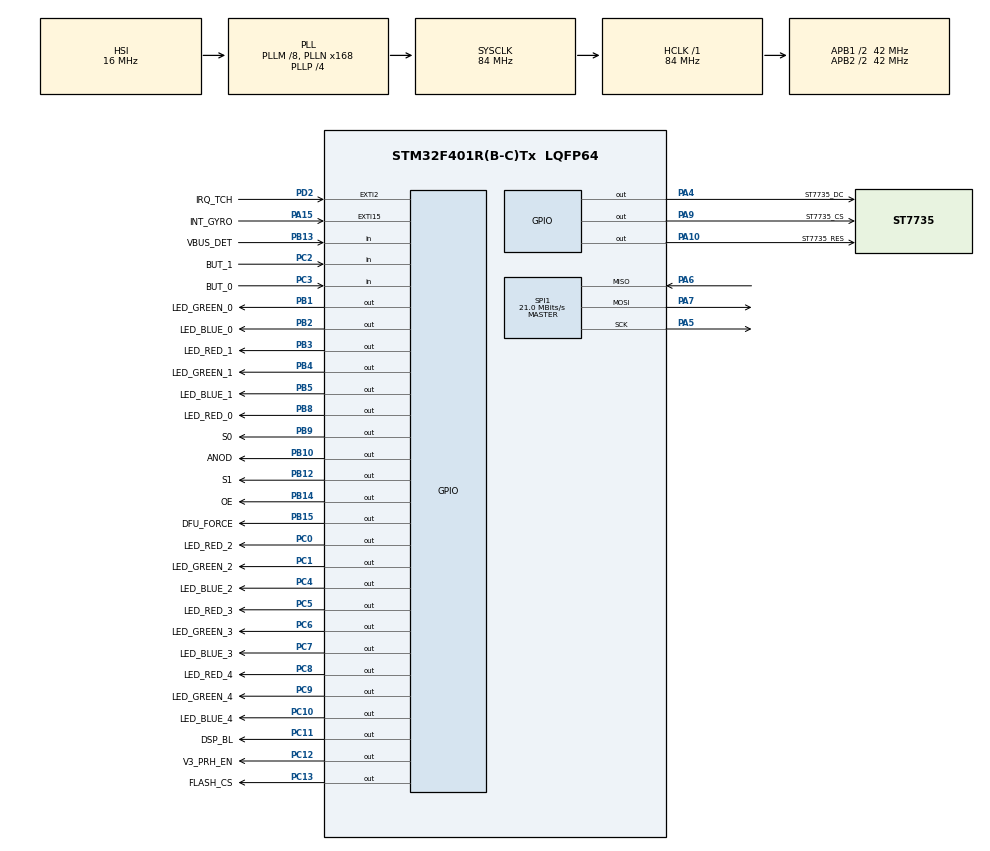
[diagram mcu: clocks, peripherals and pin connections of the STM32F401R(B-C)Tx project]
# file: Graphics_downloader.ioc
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Mcu.Family=STM32F4
Mcu.Name=STM32F401R(B-C)Tx
Mcu.Package=LQFP64
NVIC.EXTI15_10_IRQn=true\:0\:0\:false\:false\:true\:true\:true\:true
NVIC.EXTI2_IRQn=true\:0\:0\:false\:false\:true\:true\:true\:true
NVIC.PriorityGroup=NVIC_PRIORITYGROUP_4
PA10.GPIO_Label=ST7735_RES
PA10.Signal=GPIO_Output
PA13.Mode=Serial_Wire
PA13.Signal=SYS_JTMS-SWDIO
PA14.Mode=Serial_Wire
PA14.Signal=SYS_JTCK-SWCLK
PA15.GPIO_Label=INT_GYRO
PA15.Signal=GPXTI15
PA4.GPIO_Label=ST7735_DC
PA4.Signal=GPIO_Output
PA5.Mode=Full_Duplex_Master
PA5.Signal=SPI1_SCK
PA6.Mode=Full_Duplex_Master
PA6.Signal=SPI1_MISO
PA7.Mode=Full_Duplex_Master
PA7.Signal=SPI1_MOSI
PA9.GPIO_Label=ST7735_CS
PA9.Signal=GPIO_Output
PB1.GPIO_Label=LED_GREEN_0
PB1.PinState=GPIO_PIN_SET
PB1.Signal=GPIO_Output
PB10.GPIO_Label=ANOD
PB10.Signal=GPIO_Output
PB12.GPIO_Label=S1
PB12.Signal=GPIO_Output
PB13.GPIO_Label=VBUS_DET
PB13.Signal=GPIO_Input
PB14.GPIO_Label=OE
PB14.Signal=GPIO_Output
PB15.GPIO_Label=DFU_FORCE
PB15.Signal=GPIO_Output
PB2.GPIO_Label=LED_BLUE_0
PB2.PinState=GPIO_PIN_SET
PB2.Signal=GPIO_Output
PB3.GPIO_Label=LED_RED_1
PB3.PinState=GPIO_PIN_SET
PB3.Signal=GPIO_Output
PB4.GPIO_Label=LED_GREEN_1
PB4.PinState=GPIO_PIN_SET
PB4.Signal=GPIO_Output
PB5.GPIO_Label=LED_BLUE_1
PB5.PinState=GPIO_PIN_SET
PB5.Signal=GPIO_Output
PB8.GPIO_Label=LED_RED_0
PB8.PinState=GPIO_PIN_SET
PB8.Signal=GPIO_Output
PB9.GPIO_Label=S0
PB9.Signal=GPIO_Output
PC0.GPIO_Label=LED_RED_2
PC0.PinState=GPIO_PIN_SET
PC0.Signal=GPIO_Output
PC1.GPIO_Label=LED_GREEN_2
PC1.PinState=GPIO_PIN_SET
PC1.Signal=GPIO_Output
PC10.GPIO_Label=LED_BLUE_4
PC10.PinState=GPIO_PIN_SET
PC10.Signal=GPIO_Output
PC11.GPIO_Label=DSP_BL
PC11.Signal=GPIO_Output
PC12.GPIO_Label=V3_PRH_EN
PC12.Signal=GPIO_Output
PC13-ANTI_TAMP.GPIO_Label=FLASH_CS
PC13-ANTI_TAMP.Signal=GPIO_Output
PC14-OSC32_IN.Mode=LSE-External-Oscillator
PC14-OSC32_IN.Signal=RCC_OSC32_IN
PC15-OSC32_OUT.Mode=LSE-External-Oscillator
PC15-OSC32_OUT.Signal=RCC_OSC32_OUT
PC2.GPIO_Label=BUT_1
PC2.Signal=GPIO_Input
PC3.GPIO_Label=BUT_0
PC3.Signal=GPIO_Input
PC4.GPIO_Label=LED_BLUE_2
PC4.PinState=GPIO_PIN_SET
PC4.Signal=GPIO_Output
PC5.GPIO_Label=LED_RED_3
PC5.PinState=GPIO_PIN_SET
PC5.Signal=GPIO_Output
PC6.GPIO_Label=LED_GREEN_3
PC6.PinState=GPIO_PIN_SET
PC6.Signal=GPIO_Output
PC7.GPIO_Label=LED_BLUE_3
PC7.PinState=GPIO_PIN_SET
PC7.Signal=GPIO_Output
PC8.GPIO_Label=LED_RED_4
PC8.PinState=GPIO_PIN_SET
PC8.Signal=GPIO_Output
PC9.GPIO_Label=LED_GREEN_4
PC9.PinState=GPIO_PIN_SET
PC9.Signal=GPIO_Output
PD2.GPIO_Label=IRQ_TCH
PD2.GPIO_ModeDefaultEXTI=GPIO_MODE_IT_FALLING
PD2.Signal=GPXTI2
PH0\ -\ OSC_IN.Mode=HSE-External-Oscillator
PH0\ -\ OSC_IN.Signal=RCC_OSC_IN
PH1\ -\ OSC_OUT.Mode=HSE-External-Oscillator
PH1\ -\ OSC_OUT.Signal=RCC_OSC_OUT
ProjectManager.HeapSize=0x200
ProjectManager.StackSize=0x400
ProjectManager.TargetToolchain=STM32CubeIDE
RCC.48MHZClocksFreq_Value=48000000
RCC.AHBFreq_Value=84000000
RCC.APB1CLKDivider=RCC_HCLK_DIV2
RCC.APB1Freq_Value=42000000
RCC.APB1TimFreq_Value=84000000
RCC.APB2CLKDivider=RCC_HCLK_DIV2
RCC.APB2Freq_Value=42000000
RCC.APB2TimFreq_Value=84000000
RCC.CortexFreq_Value=84000000
RCC.HCLKFreq_Value=84000000
RCC.HSE_VALUE=8000000
RCC.HSI_VALUE=16000000
RCC.PLLM=8
RCC.PLLN=168
RCC.PLLP=RCC_PLLP_DIV4
RCC.PLLQ=7
RCC.RCC_RTC_Clock_Source=RCC_RTCCLKSOURCE_LSE
RCC.RCC_RTC_Clock_SourceVirtual=RCC_RTCCLKSOURCE_LSE
RCC.SYSCLKFreq_VALUE=84000000
RCC.SYSCLKSource=RCC_SYSCLKSOURCE_PLLCLK
RCC.VCOOutputFreq_Value=336000000
SPI1.BaudRatePrescaler=SPI_BAUDRATEPRESCALER_2
SPI1.CalculateBaudRate=21.0 MBits/s
SPI1.Direction=SPI_DIRECTION_2LINES
SPI1.Mode=SPI_MODE_MASTER
SPI1.VirtualType=VM_MASTER
board=custom

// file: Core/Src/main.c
/* USER CODE BEGIN Header */
/**
  ******************************************************************************
  * @file           : main.c
  * @brief          : Main program body
  ******************************************************************************
  * @attention
  *
  * Copyright (c) 2024 STMicroelectronics.
  * All rights reserved.
  *
  * This software is licensed under terms that can be found in the LICENSE file
  * in the root directory of this software component.
  * If no LICENSE file comes with this software, it is provided AS-IS.
  *
  ******************************************************************************
  */
/* USER CODE END Header */
#include "main.h"

/* USER CODE BEGIN Includes */
#include "allmyheaders.h"
/* USER CODE END Includes */

SPI_HandleTypeDef hspi1;

void SystemClock_Config(void);
static void MX_GPIO_Init(void);
static void MX_SPI1_Init(void);

int main(void)
{

  /* MCU Configuration--------------------------------------------------------*/

  /* Reset of all peripherals, Initializes the Flash interface and the Systick. */
  HAL_Init();

  /* Configure the system clock */
  SystemClock_Config();

  /* Initialize all configured peripherals */
  MX_GPIO_Init();
  MX_SPI1_Init();
  /* USER CODE BEGIN 2 */

  HAL_GPIO_WritePin(DSP_BL_GPIO_Port, DSP_BL_Pin, GPIO_PIN_SET);
  HAL_GPIO_WritePin(V3_PRH_EN_GPIO_Port, V3_PRH_EN_Pin, GPIO_PIN_SET);

  ST7735_Init();
  ST7735_InvertColors(0);
  W25qxx_Init();

  ST7735_FillScreen(ST7735_RED);

//	  FIRMWARE 0
//    W25qxx_EraseBlock(1);
//    W25qxx_WriteBlock(M1_data, 1, 0, 2592);
//    W25qxx_WriteBlock(M2_data, 1, 2592, 2592);
//    W25qxx_WriteBlock(M3_data, 1, 2592*2, 2592);
//    W25qxx_WriteBlock(M4_data, 1, 2592*3, 2592);
//    W25qxx_WriteBlock(M5_data, 1, 2592*4, 2592);
//    W25qxx_WriteBlock(M6_data, 1, 2592*5, 2592);
//    W25qxx_WriteBlock(M7_data, 1, 2592*6, 2592);
//    W25qxx_WriteBlock(M8_data, 1, 2592*7, 2592);
//    W25qxx_WriteBlock(M9_data, 1, 2592*8, 2592);
//    W25qxx_WriteBlock(M10_data, 1, 2592*9, 2592);
//    W25qxx_WriteBlock(M11_data, 1, 2592*10, 2592);
//    W25qxx_WriteBlock(M12_data, 1, 2592*11, 2592);
//    W25qxx_WriteBlock(M13_data, 1, 2592*12, 2592);
//    W25qxx_WriteBlock(M14_data, 1, 2592*13, 2592);
//    W25qxx_WriteBlock(M15_data, 1, 2592*14, 2592);
//    W25qxx_WriteBlock(M16_data, 1, 2592*15, 2592);
//    W25qxx_WriteBlock(M17_data, 1, 2592*16, 2592);
//    W25qxx_WriteBlock(M18_data, 1, 2592*17, 2592);
//    W25qxx_WriteBlock(M19_data, 1, 2592*18, 2592);
//    W25qxx_WriteBlock(M20_data, 1, 2592*19, 2592);
//    W25qxx_WriteBlock(M21_data, 1, 2592*20, 2592);
//    W25qxx_WriteBlock(M22_data, 1, 2592*21, 2592);
//    W25qxx_WriteBlock(M23_data, 1, 2592*22, 2592);
//    W25qxx_WriteBlock(M24_data, 1, 2592*23, 2592);
//
//
//    W25qxx_EraseBlock(2);
//    W25qxx_WriteBlock(M25_data, 2, 0, 2592);
//    W25qxx_WriteBlock(M26_data, 2, 2592, 2592);
//    W25qxx_WriteBlock(M27_data, 2, 2592*2, 2592);
//    W25qxx_WriteBlock(M28_data, 2, 2592*3, 2592);
//    W25qxx_WriteBlock(M29_data, 2, 2592*4, 2592);
//    W25qxx_WriteBlock(M30_data, 2, 2592*5, 2592);
//    W25qxx_WriteBlock(M31_data, 2, 2592*6, 2592);
//    W25qxx_WriteBlock(M32_data, 2, 2592*7, 2592);
//    W25qxx_WriteBlock(M33_data, 2, 2592*8, 2592);
//    W25qxx_WriteBlock(M34_data, 2, 2592*9, 2592);
//    W25qxx_WriteBlock(M35_data, 2, 2592*10, 2592);
//    W25qxx_WriteBlock(M36_data, 2, 2592*11, 2592);
//    W25qxx_WriteBlock(M37_data, 2, 2592*12, 2592);
//    W25qxx_WriteBlock(M38_data, 2, 2592*13, 2592);
//    W25qxx_WriteBlock(M39_data, 2, 2592*14, 2592);
//    W25qxx_WriteBlock(M40_data, 2, 2592*15, 2592);
//    W25qxx_WriteBlock(M41_data, 2, 2592*16, 2592);
//    W25qxx_WriteBlock(M42_data, 2, 2592*17, 2592);
//    W25qxx_WriteBlock(M43_data, 2, 2592*18, 2592);
//    W25qxx_WriteBlock(M44_data, 2, 2592*19, 2592);
//    W25qxx_WriteBlock(M45_data, 2, 2592*20, 2592);
//    W25qxx_WriteBlock(M46_data, 2, 2592*21, 2592);
//    W25qxx_WriteBlock(M47_data, 2, 2592*22, 2592);
//    W25qxx_WriteBlock(M48_data, 2, 2592*23, 2592);
//    HAL_Delay(10);
//
//    W25qxx_EraseBlock(3);
//    W25qxx_WriteBlock(M49_data, 3, 0, 2592);
//    W25qxx_WriteBlock(M50_data, 3, 2592, 2592);
//    W25qxx_WriteBlock(M51_data, 3, 2592*2, 2592);
//    W25qxx_WriteBlock(M52_data, 3, 2592*3, 2592);
//    W25qxx_WriteBlock(M53_data, 3, 2592*4, 2592);
//    W25qxx_WriteBlock(M54_data, 3, 2592*5, 2592);
//    W25qxx_WriteBlock(M55_data, 3, 2592*6, 2592);
//    W25qxx_WriteBlock(M56_data, 3, 2592*7, 2592);
//    W25qxx_WriteBlock(M57_data, 3, 2592*8, 2592);
//    W25qxx_WriteBlock(M58_data, 3, 2592*9, 2592);
//    W25qxx_WriteBlock(M59_data, 3, 2592*10, 2592);
//    W25qxx_WriteBlock(M60_data, 3, 2592*11, 2592);
//    W25qxx_WriteBlock(M61_data, 3, 2592*12, 2592);
//    W25qxx_WriteBlock(L1_data, 3, 2592*13, 4232);
//
//    W25qxx_EraseBlock(4);
//    W25qxx_WriteBlock(L2_data, 4, 0, 4232);
//    W25qxx_WriteBlock(L3_data, 4, 4232, 4232);
//    W25qxx_WriteBlock(L4_data, 4, 4232*2, 4232);
//    W25qxx_WriteBlock(L5_data, 4, 4232*3, 4232);
//    W25qxx_WriteBlock(L6_data, 4, 4232*4, 4232);
//    W25qxx_WriteBlock(L7_data, 4, 4232*5, 4232);
//    W25qxx_WriteBlock(L8_data, 4, 4232*6, 4232);
//    W25qxx_WriteBlock(L9_data, 4, 4232*7, 4232);
//    W25qxx_WriteBlock(L10_data, 4, 4232*8, 4232);
//    W25qxx_WriteBlock(L11_data, 4, 4232*9, 4232);
//    W25qxx_WriteBlock(L12_data, 4, 4232*10, 4232);
//    W25qxx_WriteBlock(L13_data, 4, 4232*11, 4232);
//    W25qxx_WriteBlock(L14_data, 4, 4232*12, 4232);
//    W25qxx_WriteBlock(L15_data, 4, 4232*13, 4232);
//    W25qxx_WriteBlock(L16_data, 4, 4232*14, 4232);

/////// FIRMWARE 1

  W25qxx_EraseBlock(5);
  W25qxx_WriteBlock(L17_data, 5, 0, 4232);
  W25qxx_WriteBlock(L18_data, 5, 4232, 4232);
  W25qxx_WriteBlock(L19_data, 5, 4232*2, 4232);
  W25qxx_WriteBlock(L20_data, 5, 4232*3, 4232);
  W25qxx_WriteBlock(L21_data, 5, 4232*4, 4232);
  W25qxx_WriteBlock(L22_data, 5, 4232*5, 4232);
  W25qxx_WriteBlock(L23_data, 5, 4232*6, 4232);
  W25qxx_WriteBlock(L24_data, 5, 4232*7, 4232);
  W25qxx_WriteBlock(L25_data, 5, 4232*8, 4232);
  W25qxx_WriteBlock(L26_data, 5, 4232*9, 4232);
  W25qxx_WriteBlock(L27_data, 5, 4232*10, 4232);
  W25qxx_WriteBlock(L28_data, 5, 4232*11, 4232);
  W25qxx_WriteBlock(L29_data, 5, 4232*12, 4232);
  W25qxx_WriteBlock(L30_data, 5, 4232*13, 4232);
  W25qxx_WriteBlock(L31_data, 5, 4232*14, 4232);

  W25qxx_EraseBlock(6);
  W25qxx_WriteBlock(L32_data, 6, 0, 4232);
  W25qxx_WriteBlock(L33_data, 6, 4232, 4232);
  W25qxx_WriteBlock(L34_data, 6, 4232*2, 4232);
  W25qxx_WriteBlock(L35_data, 6, 4232*3, 4232);
  W25qxx_WriteBlock(L36_data, 6, 4232*4, 4232);
  W25qxx_WriteBlock(L37_data, 6, 4232*5, 4232);
  W25qxx_WriteBlock(L38_data, 6, 4232*6, 4232);
  W25qxx_WriteBlock(L39_data, 6, 4232*7, 4232);
  W25qxx_WriteBlock(L40_data, 6, 4232*8, 4232);
  W25qxx_WriteBlock(L41_data, 6, 4232*9, 4232);
  W25qxx_WriteBlock(L42_data, 6, 4232*10, 4232);
  W25qxx_WriteBlock(L43_data, 6, 4232*11, 4232);
  W25qxx_WriteBlock(L44_data, 6, 4232*12, 4232);
  W25qxx_WriteBlock(L45_data, 6, 4232*13, 4232);
  W25qxx_WriteBlock(L46_data, 6, 4232*14, 4232);

  W25qxx_EraseBlock(7);
  W25qxx_WriteBlock(L47_data, 7, 0, 4232);
  W25qxx_WriteBlock(L48_data, 7, 4232, 4232);
  W25qxx_WriteBlock(L49_data, 7, 4232*2, 4232);
  W25qxx_WriteBlock(L50_data, 7, 4232*3, 4232);
  W25qxx_WriteBlock(L51_data, 7, 4232*4, 4232);
  W25qxx_WriteBlock(L52_data, 7, 4232*5, 4232);
  W25qxx_WriteBlock(L53_data, 7, 4232*6, 4232);
  W25qxx_WriteBlock(L54_data, 7, 4232*7, 4232);
  W25qxx_WriteBlock(L55_data, 7, 4232*8, 4232);
  W25qxx_WriteBlock(L56_data, 7, 4232*9, 4232);
  W25qxx_WriteBlock(L57_data, 7, 4232*10, 4232);
  W25qxx_WriteBlock(L58_data, 7, 4232*11, 4232);
  W25qxx_WriteBlock(L59_data, 7, 4232*12, 4232);
  W25qxx_WriteBlock(L60_data, 7, 4232*13, 4232);
  W25qxx_WriteBlock(L61_data, 7, 4232*14, 4232);

  W25qxx_EraseBlock(8);
  W25qxx_WriteBlock(LOADING_1_data, 8, 0, 5408 );
  W25qxx_WriteBlock(LOADING_2_data, 8, 5408, 5408 );
  W25qxx_WriteBlock(LOADING_3_data, 8, 10816, 5408 );
  W25qxx_WriteBlock(LOAD_0_data, 8, 16224, 1800 );
  W25qxx_WriteBlock(LOAD_10_data, 8, 16224 + 1800*1, 1800 );
  W25qxx_WriteBlock(LOAD_20_data, 8, 16224 + 1800*2, 1800 );
  W25qxx_WriteBlock(LOAD_30_data, 8, 16224 + 1800*3, 1800 );
  W25qxx_WriteBlock(LOAD_40_data, 8, 16224 + 1800*4, 1800 );
  W25qxx_WriteBlock(LOAD_50_data, 8, 16224 + 1800*5, 1800 );
  W25qxx_WriteBlock(LOAD_60_data, 8, 16224 + 1800*6, 1800 );
  W25qxx_WriteBlock(LOAD_70_data, 8, 16224 + 1800*7, 1800 );
  W25qxx_WriteBlock(LOAD_80_data, 8, 16224 + 1800*8, 1800 );
  W25qxx_WriteBlock(LOAD_90_data, 8, 16224 + 1800*9, 1800 );
  W25qxx_WriteBlock(LOAD_100_data, 8, 16224 + 1800*10, 1800 );
  W25qxx_WriteBlock(LOAD_150_data, 8, 16224 + 1800*11, 1800 );
  W25qxx_WriteBlock(LOAD_200_data, 8, 16224 + 1800*12, 1800 );

  W25qxx_WriteBlock(CHECK_MARK_M_data, 8,39774 , 1920 );
  W25qxx_WriteBlock(EXCLAMATION_MARK_M_data, 8,41664 , 1920 );
  W25qxx_WriteBlock(CROSS_MARK_M_data, 8,43584 , 1920 );
  W25qxx_WriteBlock(CHECK_MARK_L_data, 8,47104 , 3520 );
  W25qxx_WriteBlock(EXCLAMATION_MARK_L_data, 8,50624 , 3520 );
  W25qxx_WriteBlock(CROSS_MARK_L_data, 8,54144 , 3520 );

  W25qxx_WriteBlock(ARROW_SUB_DARK_DOWN_data, 8,57664 , 90);
  W25qxx_WriteBlock(ARROW_SUB_DARK_LEFT_data, 8,57754 , 90);
  W25qxx_WriteBlock(ARROW_SUB_DARK_RIGHT_data, 8,57844 , 90);
  W25qxx_WriteBlock(ARROW_SUB_DARK_UP_data, 8,57934 , 90);

  W25qxx_WriteBlock(ARROW_SUB_LIGHT_DOWN_data, 8,58024 , 90);
  W25qxx_WriteBlock(ARROW_SUB_LIGHT_LEFT_data, 8,58114 , 90);
  W25qxx_WriteBlock(ARROW_SUB_LIGHT_RIGHT_data, 8,58204 , 90);
  W25qxx_WriteBlock(ARROW_SUB_LIGHT_UP_data, 8,58294 , 90);

  W25qxx_WriteBlock(FAVORITE_STAR_data, 8,58384 , 162);

  W25qxx_WriteBlock(ARROW_MAIN_DARK_RIGHT_data, 8,58546 , 224);
  W25qxx_WriteBlock(ARROW_MAIN_LIGHT_RIGHT_data, 8,58770 , 224);
  W25qxx_WriteBlock(ARROW_MAIN_DARK_LEFT_data, 8,58994 , 224);
  W25qxx_WriteBlock(ARROW_MAIN_LIGHT_LEFT_data, 8,59218 , 224);

  //FIRMWARE 2
//  W25qxx_EraseBlock(9);
//  W25qxx_WriteBlock(NORM_RECTANGLE_data, 9, 0, 6384);
//  W25qxx_WriteBlock(MAIN_DARK_INFO_HOR_data, 9, 6384, 3960);
//  W25qxx_WriteBlock(MAIN_DARK_PROBE_HOR_data, 9, 10344, 3960);
//  W25qxx_WriteBlock(MAIN_DARK_SETTINGS_HOR_data, 9, 14304, 3960);
//  W25qxx_WriteBlock(MAIN_MENU_INFO_data, 9, 18264, 6050);
//  W25qxx_WriteBlock(MAIN_MENU_NO3_data, 9, 24314, 6050);
//  W25qxx_WriteBlock(MAIN_MENU_PH_data, 9, 30364, 6050);
//  W25qxx_WriteBlock(MAIN_MENU_SETTINGS_data, 9, 36414, 6050);
  /* USER CODE END 2 */

  /* Infinite loop */
  while (1)
  {

	  HAL_GPIO_WritePin(ANOD_GPIO_Port, ANOD_Pin, GPIO_PIN_SET);
	  HAL_GPIO_WritePin(LED_BLUE_1_GPIO_Port,LED_BLUE_1_Pin, GPIO_PIN_RESET);
	  HAL_Delay(1000);
	  HAL_GPIO_WritePin(ANOD_GPIO_Port, ANOD_Pin, GPIO_PIN_SET);
	  HAL_GPIO_WritePin(LED_BLUE_1_GPIO_Port,LED_BLUE_1_Pin, GPIO_PIN_SET);
	  HAL_Delay(1000);

//  	  SPI_Flash_to_LCD(LOADING_1,28,14);
//  	  SPI_Flash_to_LCD(LOADING_2,80,14);
//  	  HAL_Delay(70);
//  	  SPI_Flash_to_LCD(LOADING_3,28,14);
//  	  SPI_Flash_to_LCD(LOADING_3,80,14);
//  	  HAL_Delay(70);
//  	  SPI_Flash_to_LCD(LOADING_2,28,14);
//  	  SPI_Flash_to_LCD(LOADING_1,80,14);
//  	  HAL_Delay(70);

  }
}

void SystemClock_Config(void)
{
  RCC_OscInitTypeDef RCC_OscInitStruct = {0};
  RCC_ClkInitTypeDef RCC_ClkInitStruct = {0};

  /** Configure the main internal regulator output voltage
  */
  __HAL_RCC_PWR_CLK_ENABLE();
  __HAL_PWR_VOLTAGESCALING_CONFIG(PWR_REGULATOR_VOLTAGE_SCALE2);

  /** Initializes the RCC Oscillators according to the specified parameters
  * in the RCC_OscInitTypeDef structure.
  */
  RCC_OscInitStruct.OscillatorType = RCC_OSCILLATORTYPE_HSI;
  RCC_OscInitStruct.HSIState = RCC_HSI_ON;
  RCC_OscInitStruct.HSICalibrationValue = RCC_HSICALIBRATION_DEFAULT;
  RCC_OscInitStruct.PLL.PLLState = RCC_PLL_ON;
  RCC_OscInitStruct.PLL.PLLSource = RCC_PLLSOURCE_HSI;
  RCC_OscInitStruct.PLL.PLLM = 8;
  RCC_OscInitStruct.PLL.PLLN = 168;
  RCC_OscInitStruct.PLL.PLLP = RCC_PLLP_DIV4;
  RCC_OscInitStruct.PLL.PLLQ = 7;
  if (HAL_RCC_OscConfig(&RCC_OscInitStruct) != HAL_OK)
  {
    Error_Handler();
  }

  /** Initializes the CPU, AHB and APB buses clocks
  */
  RCC_ClkInitStruct.ClockType = RCC_CLOCKTYPE_HCLK|RCC_CLOCKTYPE_SYSCLK
                              |RCC_CLOCKTYPE_PCLK1|RCC_CLOCKTYPE_PCLK2;
  RCC_ClkInitStruct.SYSCLKSource = RCC_SYSCLKSOURCE_PLLCLK;
  RCC_ClkInitStruct.AHBCLKDivider = RCC_SYSCLK_DIV1;
  RCC_ClkInitStruct.APB1CLKDivider = RCC_HCLK_DIV2;
  RCC_ClkInitStruct.APB2CLKDivider = RCC_HCLK_DIV2;

  if (HAL_RCC_ClockConfig(&RCC_ClkInitStruct, FLASH_LATENCY_2) != HAL_OK)
  {
    Error_Handler();
  }
}

static void MX_SPI1_Init(void)
{

  /* SPI1 parameter configuration*/
  hspi1.Instance = SPI1;
  hspi1.Init.Mode = SPI_MODE_MASTER;
  hspi1.Init.Direction = SPI_DIRECTION_2LINES;
  hspi1.Init.DataSize = SPI_DATASIZE_8BIT;
  hspi1.Init.CLKPolarity = SPI_POLARITY_LOW;
  hspi1.Init.CLKPhase = SPI_PHASE_1EDGE;
  hspi1.Init.NSS = SPI_NSS_SOFT;
  hspi1.Init.BaudRatePrescaler = SPI_BAUDRATEPRESCALER_2;
  hspi1.Init.FirstBit = SPI_FIRSTBIT_MSB;
  hspi1.Init.TIMode = SPI_TIMODE_DISABLE;
  hspi1.Init.CRCCalculation = SPI_CRCCALCULATION_DISABLE;
  hspi1.Init.CRCPolynomial = 10;
  if (HAL_SPI_Init(&hspi1) != HAL_OK)
  {
    Error_Handler();
  }

}

static void MX_GPIO_Init(void)
{
  GPIO_InitTypeDef GPIO_InitStruct = {0};

  /* GPIO Ports Clock Enable */
  __HAL_RCC_GPIOC_CLK_ENABLE();
  __HAL_RCC_GPIOH_CLK_ENABLE();
  __HAL_RCC_GPIOA_CLK_ENABLE();
  __HAL_RCC_GPIOB_CLK_ENABLE();
  __HAL_RCC_GPIOD_CLK_ENABLE();

  /*Configure GPIO pin Output Level */
  HAL_GPIO_WritePin(GPIOC, FLASH_CS_Pin|DSP_BL_Pin|V3_PRH_EN_Pin, GPIO_PIN_RESET);

  /*Configure GPIO pin Output Level */
  HAL_GPIO_WritePin(GPIOC, LED_RED_2_Pin|LED_GREEN_2_Pin|LED_BLUE_2_Pin|LED_RED_3_Pin
                          |LED_GREEN_3_Pin|LED_BLUE_3_Pin|LED_RED_4_Pin|LED_GREEN_4_Pin
                          |LED_BLUE_4_Pin, GPIO_PIN_SET);

  /*Configure GPIO pin Output Level */
  HAL_GPIO_WritePin(GPIOA, ST7735_DC_Pin|ST7735_CS_Pin|ST7735_RES_Pin, GPIO_PIN_RESET);

  /*Configure GPIO pin Output Level */
  HAL_GPIO_WritePin(GPIOB, LED_GREEN_0_Pin|LED_BLUE_0_Pin|LED_RED_1_Pin|LED_GREEN_1_Pin
                          |LED_BLUE_1_Pin|LED_RED_0_Pin, GPIO_PIN_SET);

  /*Configure GPIO pin Output Level */
  HAL_GPIO_WritePin(GPIOB, ANOD_Pin|S1_Pin|OE_Pin|DFU_FORCE_Pin
                          |S0_Pin, GPIO_PIN_RESET);

  /*Configure GPIO pins : FLASH_CS_Pin LED_RED_2_Pin LED_GREEN_2_Pin LED_BLUE_2_Pin
                           LED_RED_3_Pin LED_GREEN_3_Pin LED_BLUE_3_Pin LED_RED_4_Pin
                           LED_GREEN_4_Pin LED_BLUE_4_Pin DSP_BL_Pin V3_PRH_EN_Pin */
  GPIO_InitStruct.Pin = FLASH_CS_Pin|LED_RED_2_Pin|LED_GREEN_2_Pin|LED_BLUE_2_Pin
                          |LED_RED_3_Pin|LED_GREEN_3_Pin|LED_BLUE_3_Pin|LED_RED_4_Pin
                          |LED_GREEN_4_Pin|LED_BLUE_4_Pin|DSP_BL_Pin|V3_PRH_EN_Pin;
  GPIO_InitStruct.Mode = GPIO_MODE_OUTPUT_PP;
  GPIO_InitStruct.Pull = GPIO_NOPULL;
  GPIO_InitStruct.Speed = GPIO_SPEED_FREQ_LOW;
  HAL_GPIO_Init(GPIOC, &GPIO_InitStruct);

  /*Configure GPIO pins : BUT_1_Pin BUT_0_Pin */
  GPIO_InitStruct.Pin = BUT_1_Pin|BUT_0_Pin;
  GPIO_InitStruct.Mode = GPIO_MODE_INPUT;
  GPIO_InitStruct.Pull = GPIO_NOPULL;
  HAL_GPIO_Init(GPIOC, &GPIO_InitStruct);

  /*Configure GPIO pins : ST7735_DC_Pin ST7735_CS_Pin ST7735_RES_Pin */
  GPIO_InitStruct.Pin = ST7735_DC_Pin|ST7735_CS_Pin|ST7735_RES_Pin;
  GPIO_InitStruct.Mode = GPIO_MODE_OUTPUT_PP;
  GPIO_InitStruct.Pull = GPIO_NOPULL;
  GPIO_InitStruct.Speed = GPIO_SPEED_FREQ_LOW;
  HAL_GPIO_Init(GPIOA, &GPIO_InitStruct);

  /*Configure GPIO pins : LED_GREEN_0_Pin LED_BLUE_0_Pin ANOD_Pin S1_Pin
                           OE_Pin DFU_FORCE_Pin LED_RED_1_Pin LED_GREEN_1_Pin
                           LED_BLUE_1_Pin LED_RED_0_Pin S0_Pin */
  GPIO_InitStruct.Pin = LED_GREEN_0_Pin|LED_BLUE_0_Pin|ANOD_Pin|S1_Pin
                          |OE_Pin|DFU_FORCE_Pin|LED_RED_1_Pin|LED_GREEN_1_Pin
                          |LED_BLUE_1_Pin|LED_RED_0_Pin|S0_Pin;
  GPIO_InitStruct.Mode = GPIO_MODE_OUTPUT_PP;
  GPIO_InitStruct.Pull = GPIO_NOPULL;
  GPIO_InitStruct.Speed = GPIO_SPEED_FREQ_LOW;
  HAL_GPIO_Init(GPIOB, &GPIO_InitStruct);

  /*Configure GPIO pin : VBUS_DET_Pin */
  GPIO_InitStruct.Pin = VBUS_DET_Pin;
  GPIO_InitStruct.Mode = GPIO_MODE_INPUT;
  GPIO_InitStruct.Pull = GPIO_NOPULL;
  HAL_GPIO_Init(VBUS_DET_GPIO_Port, &GPIO_InitStruct);

  /*Configure GPIO pin : INT_GYRO_Pin */
  GPIO_InitStruct.Pin = INT_GYRO_Pin;
  GPIO_InitStruct.Mode = GPIO_MODE_IT_RISING;
  GPIO_InitStruct.Pull = GPIO_NOPULL;
  HAL_GPIO_Init(INT_GYRO_GPIO_Port, &GPIO_InitStruct);

  /*Configure GPIO pin : IRQ_TCH_Pin */
  GPIO_InitStruct.Pin = IRQ_TCH_Pin;
  GPIO_InitStruct.Mode = GPIO_MODE_IT_FALLING;
  GPIO_InitStruct.Pull = GPIO_NOPULL;
  HAL_GPIO_Init(IRQ_TCH_GPIO_Port, &GPIO_InitStruct);

  /* EXTI interrupt init*/
  HAL_NVIC_SetPriority(EXTI2_IRQn, 0, 0);
  HAL_NVIC_EnableIRQ(EXTI2_IRQn);

  HAL_NVIC_SetPriority(EXTI15_10_IRQn, 0, 0);
  HAL_NVIC_EnableIRQ(EXTI15_10_IRQn);

}

void Error_Handler(void)
{
  __disable_irq();
  while (1)
  {
  }
}
